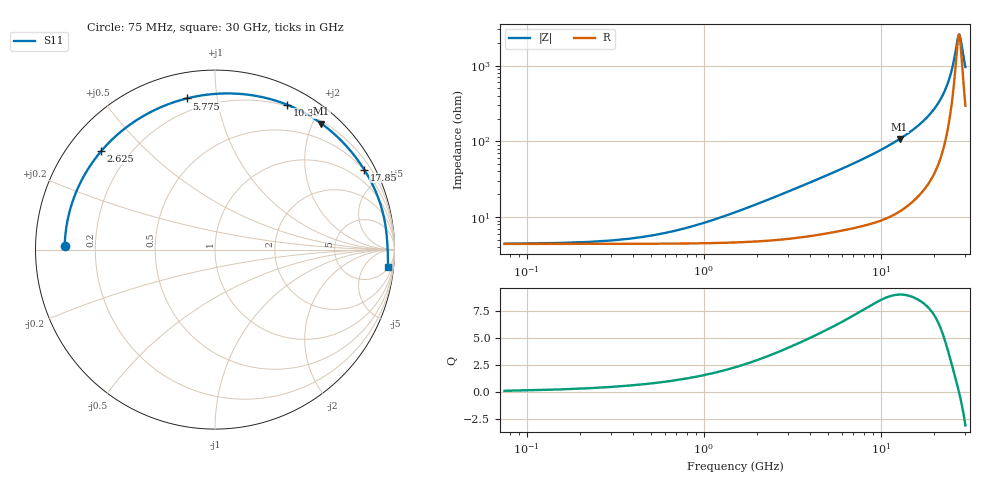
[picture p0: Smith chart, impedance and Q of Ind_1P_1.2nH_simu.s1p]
#  Hz  S  RI  R  50
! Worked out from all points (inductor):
!   400 points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, 75 MHz to 30 GHz, reference 50 ohm
!   read as one part to ground: L = 1.11 nH near 2.1 GHz
!   highest Q = 9.02 at 12.75 GHz (marker M1), where L = 1.33 nH
!   self-resonance near 27.6 GHz
!   S11 on the Smith chart (normalised r, x): 75 MHz: 0.09, +0.01; 2.625 GHz: 0.10, +0.37; 5.775 GHz: 0.13, +0.82; 10.35 GHz: 0.19, +1.60; 17.85 GHz: 0.49, +3.92; 30 GHz: 6, -18
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7.5e7  -0.8374 0.0179
6.75e8  -0.8223 0.1594
1.275e9  -0.7842 0.2942
1.95e9  -0.718 0.4315
2.625e9  -0.6334 0.5495
3.225e9  -0.5479 0.6369
3.825e9  -0.4569 0.7079
4.275e9  -0.3871 0.7512
4.8e9  -0.3054 0.7917
5.25e9  -0.2361 0.8187
5.775e9  -0.157 0.8422
6.675e9  -0.0271 0.8651
7.575e9  0.0937 0.8698
8.25e9  0.1778 0.8638
8.925e9  0.2561 0.851
1.035e10  0.4022 0.8071
1.1325e10  0.4877 0.7677
1.275e10  0.5932 0.7018
1.3875e10  0.6621 0.6462
1.5075e10  0.7239 0.5855
1.6425e10  0.7815 0.5172
1.785e10  0.8311 0.4459
1.8825e10  0.8594 0.3976
2.07e10  0.9027 0.306
2.2575e10  0.9323 0.2167
2.43e10  0.949 0.138
2.6325e10  0.9589 0.0516
3e10  0.9636 -0.0961
